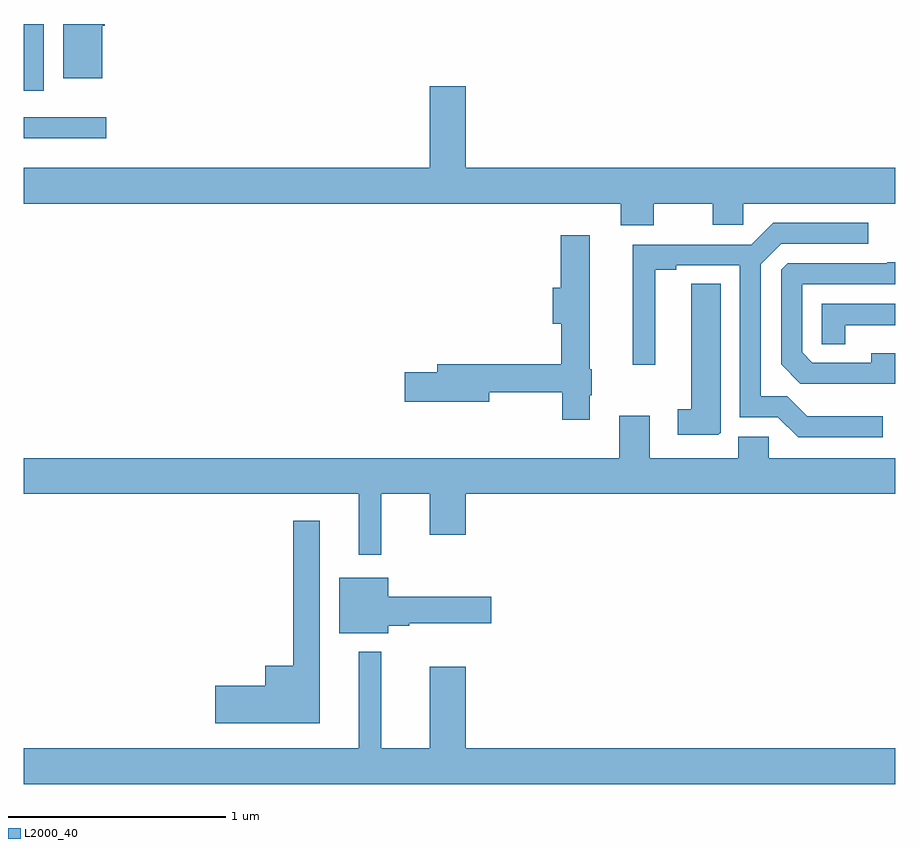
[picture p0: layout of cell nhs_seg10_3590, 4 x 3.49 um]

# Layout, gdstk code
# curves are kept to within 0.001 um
import gdstk
lib = gdstk.Library(unit=1e-6, precision=1e-09)
def R(c, l, rs):  # rectangles x0, y0, x1, y1
    for r in rs: c.add(gdstk.rectangle(r[:2], r[2:], *l))
def P(c, l, *ps):  # polygons
    for p in ps: c.add(gdstk.Polygon(p, *l))
L2000_40 = (2000, 40)

nhs_seg10_3590 = lib.new_cell('nhs_seg10_3590')
R(nhs_seg10_3590, L2000_40, [(307,1273.976,307.378,1274.073), (307,1274.193,307.093,1274.5)])
P(nhs_seg10_3590, L2000_40, [(307.36,1274.492),(307.373,1274.492),(307.373,1274.5),(307.181,1274.5),(307.181,1274.252),(307.36,1274.252)],
  [(309.892,1273.676),(310.163,1273.676),(310.163,1273.578),(310.302,1273.578),(310.302,1273.676),(311,1273.676),(311,1273.84),(309.028,1273.84),(309.028,1274.215),(308.864,1274.215),(308.864,1273.84),(307,1273.84),(307,1273.676),(309.74,1273.676),(309.74,1273.577),(309.892,1273.577)],
  [(310.942,1272.7),(310.595,1272.7),(310.504,1272.791),(310.383,1272.791),(310.383,1273.398),(310.476,1273.491),(310.876,1273.491),(310.876,1273.587),(310.439,1273.587),(310.34,1273.488),(309.794,1273.488),(309.794,1272.936),(309.898,1272.936),(309.898,1273.372),(309.994,1273.372),(309.994,1273.392),(310.287,1273.392),(310.287,1272.696),(310.461,1272.696),(310.554,1272.603),(310.942,1272.603)],
  [(309.598,1272.796),(309.606,1272.796),(309.606,1272.915),(309.598,1272.915),(309.598,1273.531),(309.464,1273.531),(309.464,1273.29),(309.428,1273.29),(309.428,1273.124),(309.467,1273.124),(309.467,1272.938),(308.897,1272.938),(308.897,1272.902),(308.748,1272.902),(308.748,1272.767),(309.136,1272.767),(309.136,1272.81),(309.472,1272.81),(309.472,1272.684),(309.598,1272.684)],
  [(310.913,1272.849),(311,1272.849),(311,1272.988),(310.889,1272.988),(310.889,1272.945),(310.62,1272.945),(310.572,1272.993),(310.572,1273.305),(311,1273.305),(311,1273.406),(310.963,1273.406),(310.963,1273.401),(310.506,1273.401),(310.476,1273.371),(310.476,1272.939),(310.565,1272.85),(310.681,1272.85),(310.681,1272.848)],
  [(310.198,1272.625),(310.198,1273.307),(310.064,1273.307),(310.064,1272.731),(310.002,1272.731),(310.002,1272.615),(310.188,1272.615)],
  [(310.771,1273.118),(311,1273.118),(311,1273.215),(310.662,1273.215),(310.662,1273.03),(310.771,1273.03)],
  [(308.641,1272.344),(308.864,1272.344),(308.864,1272.156),(309.028,1272.156),(309.028,1272.344),(311,1272.344),(311,1272.508),(310.419,1272.508),(310.419,1272.606),(310.28,1272.606),(310.28,1272.508),(309.874,1272.508),(309.874,1272.703),(309.734,1272.703),(309.734,1272.508),(307,1272.508),(307,1272.344),(308.537,1272.344),(308.537,1272.063),(308.641,1272.063)],
  [(308.359,1272.22),(308.238,1272.22),(308.238,1271.554),(308.108,1271.554),(308.108,1271.462),(307.878,1271.462),(307.878,1271.291),(308.359,1271.291)],
  [(308.674,1271.738),(308.77,1271.738),(308.77,1271.75),(309.145,1271.75),(309.145,1271.872),(308.674,1271.872),(308.674,1271.959),(308.447,1271.959),(308.447,1271.705),(308.674,1271.705)],
  [(311,1271.176),(309.028,1271.176),(309.028,1271.551),(308.864,1271.551),(308.864,1271.176),(308.641,1271.176),(308.641,1271.62),(308.537,1271.62),(308.537,1271.176),(307,1271.176),(307,1271.012),(311,1271.012)])

lib.write_gds('nhs_seg10_3590.gds')
